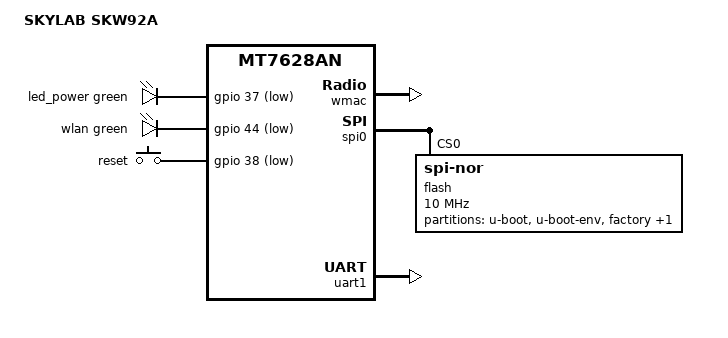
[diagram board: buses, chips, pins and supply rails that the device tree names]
// SPDX-License-Identifier: GPL-2.0-or-later OR MIT

#include "mt7628an.dtsi"

#include <dt-bindings/gpio/gpio.h>
#include <dt-bindings/input/input.h>
#include <dt-bindings/leds/common.h>

/ {
	compatible = "skylab,skw92a", "mediatek,mt7628an-soc";
	model = "SKYLAB SKW92A";

	aliases {
		led-boot = &led_power;
		led-failsafe = &led_power;
	};

	leds {
		compatible = "gpio-leds";

		led_power: wps {
			function = LED_FUNCTION_WPS;
			color = <LED_COLOR_ID_GREEN>;
			gpios = <&gpio 37 GPIO_ACTIVE_LOW>;
		};

		wlan {
			function = LED_FUNCTION_WLAN;
			color = <LED_COLOR_ID_GREEN>;
			gpios = <&gpio 44 GPIO_ACTIVE_LOW>;
		};
	};

	keys {
		compatible = "gpio-keys";

		reset {
			label = "reset";
			gpios = <&gpio 38 GPIO_ACTIVE_LOW>;
			linux,code = <KEY_RESTART>;
		};
	};
};

&state_default {
	gpio {
		groups = "wdt", "refclk", "wled_an";
		function = "gpio";
	};
};

&ethernet {
	nvmem-cells = <&macaddr_factory_28>;
	nvmem-cell-names = "mac-address";
};

&wmac {
	status = "okay";

	nvmem-cells = <&eeprom_factory_0>;
	nvmem-cell-names = "eeprom";
};

&spi0 {
	status = "okay";

	flash@0 {
		compatible = "jedec,spi-nor";
		reg = <0>;
		spi-max-frequency = <10000000>;

		partitions {
			compatible = "fixed-partitions";
			#address-cells = <1>;
			#size-cells = <1>;

			partition@0 {
				label = "u-boot";
				reg = <0x0 0x30000>;
				read-only;
			};

			partition@30000 {
				label = "u-boot-env";
				reg = <0x30000 0x10000>;
				read-only;
			};

			partition@40000 {
				label = "factory";
				reg = <0x40000 0x10000>;
				read-only;

				nvmem-layout {
					compatible = "fixed-layout";
					#address-cells = <1>;
					#size-cells = <1>;

					eeprom_factory_0: eeprom@0 {
						reg = <0x0 0x400>;
					};

					macaddr_factory_28: macaddr@28 {
						reg = <0x28 0x6>;
					};
				};
			};

			partition@50000 {
				label = "firmware";
				reg = <0x50000 0xfb0000>;
				compatible = "denx,uimage";
			};
		};
	};
};

&uart1 {
	status = "okay";
};
